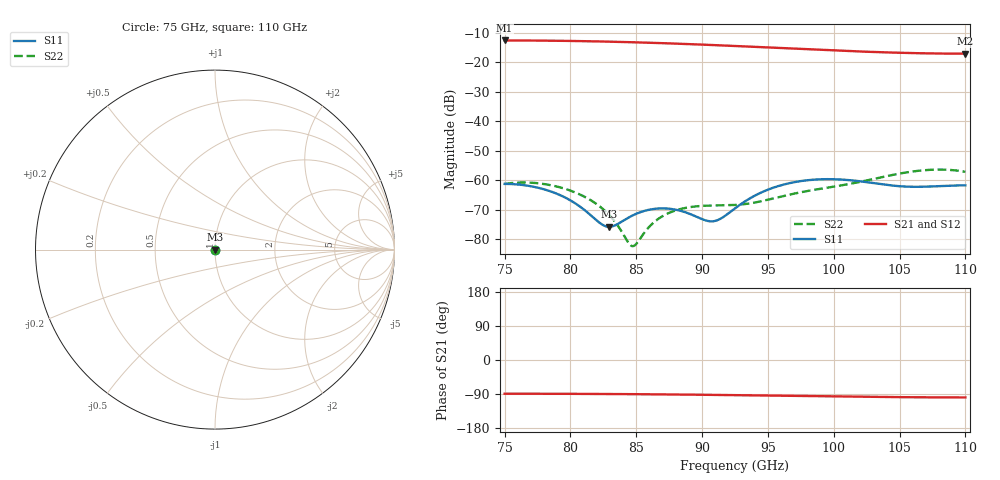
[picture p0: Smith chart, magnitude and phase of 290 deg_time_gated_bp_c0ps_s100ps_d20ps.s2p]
# Hz S RI R 50.000000
! Metas.Vna.Tools, 2.4.7724.19584
! Metas.Vna.Data, 2.4.7724.19560
! Created: UTC 2021.04.29 12:40:11
! FREQ  re:S1,1  im:S1,1  re:S2,1  im:S2,1  re:S1,2  im:S1,2  re:S2,2  im:S2,2
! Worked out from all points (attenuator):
!   1401 points, 75 GHz to 110 GHz, reference 50 ohm
!   highest |S21| = -12.58 dB at 75 GHz (marker M1); lowest = -17.1 dB at 110 GHz (marker M2)
!   lowest |S11| = -75.9 dB at 82.95 GHz (marker M3), VSWR 1.00, Z = 50 + j0.00343 ohm
!   |S11| at or under -10 dB: start of sweep to end of sweep
!   |S22| runs from -82.4 to -56.4 dB; largest |S21 - S12| = 0.0082
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7.5e10  -0.000176 -0.000844  0.00431 -0.2349  0.00912 -0.236  0.00086 -4.25e-05
7.6575e10  -0.000181 -0.000794  0.00417 -0.2345  0.00897 -0.2355  0.000908 6.76e-05
7.82e10  -0.000191 -0.000649  0.00375 -0.2331  0.0085 -0.2342  0.000831 0.000147
7.96e10  -0.000197 -0.000466  0.00317 -0.2312  0.00784 -0.2323  0.000687 0.00018
8.085e10  -0.000194 -0.000278  0.00249 -0.229  0.00705 -0.2301  0.000522 0.000181
8.2325e10  -0.000173 -5.36e-05  0.00149 -0.2257  0.00589 -0.2268  0.000307 0.000155
8.295e10  -0.000157 3.44e-05  0.00102 -0.2241  0.00532 -0.2252  0.000215 0.000136
8.4125e10  -0.000116 0.000177  4.08e-05 -0.2209  0.00413 -0.222  5.28e-05 9.53e-05
8.44e10  -0.000105 0.000205  -0.000202 -0.2201  0.00383 -0.2211  1.73e-05 8.47e-05
8.525e10  -6.51e-05 0.000275  -0.000986 -0.2174  0.00286 -0.2185  -8.41e-05 5.08e-05
8.6675e10  1.18e-05 0.000329  -0.0024 -0.2126  0.00105 -0.2136  -0.000219 -8.11e-06
8.8375e10  0.000105 0.000282  -0.00421 -0.2062  -0.00135 -0.2073  -0.000314 -7.97e-05
9.07e10  0.000197 3.27e-05  -0.00683 -0.1968  -0.00502 -0.1978  -0.00032 -0.000186
9.14e10  0.000208 -7.38e-05  -0.00764 -0.1938  -0.00619 -0.1948  -0.000298 -0.000222
9.25e10  0.000208 -0.000258  -0.00891 -0.1891  -0.00808 -0.19  -0.000249 -0.000285
9.38e10  0.000175 -0.000484  -0.0104 -0.1835  -0.0104 -0.1843  -0.00018 -0.000367
9.5175e10  0.000103 -0.000704  -0.012 -0.1775  -0.0128 -0.1783  -0.000115 -0.00046
9.835e10  -0.000168 -0.000998  -0.0153 -0.1643  -0.0183 -0.165  -0.000127 -0.000662
1.00775e11  -0.000403 -0.000931  -0.0175 -0.1554  -0.0222 -0.1559  -0.000383 -0.000735
1.04175e11  -0.00066 -0.00049  -0.0198 -0.1455  -0.0265 -0.1459  -0.00101 -0.000622
1.07325e11  -0.000778 -3.4e-05  -0.0211 -0.14  -0.0289 -0.1403  -0.00146 -0.000311
1.1e11  -0.000805 0.000122  -0.0215 -0.1385  -0.0296 -0.1387  -0.00138 3.37e-06
